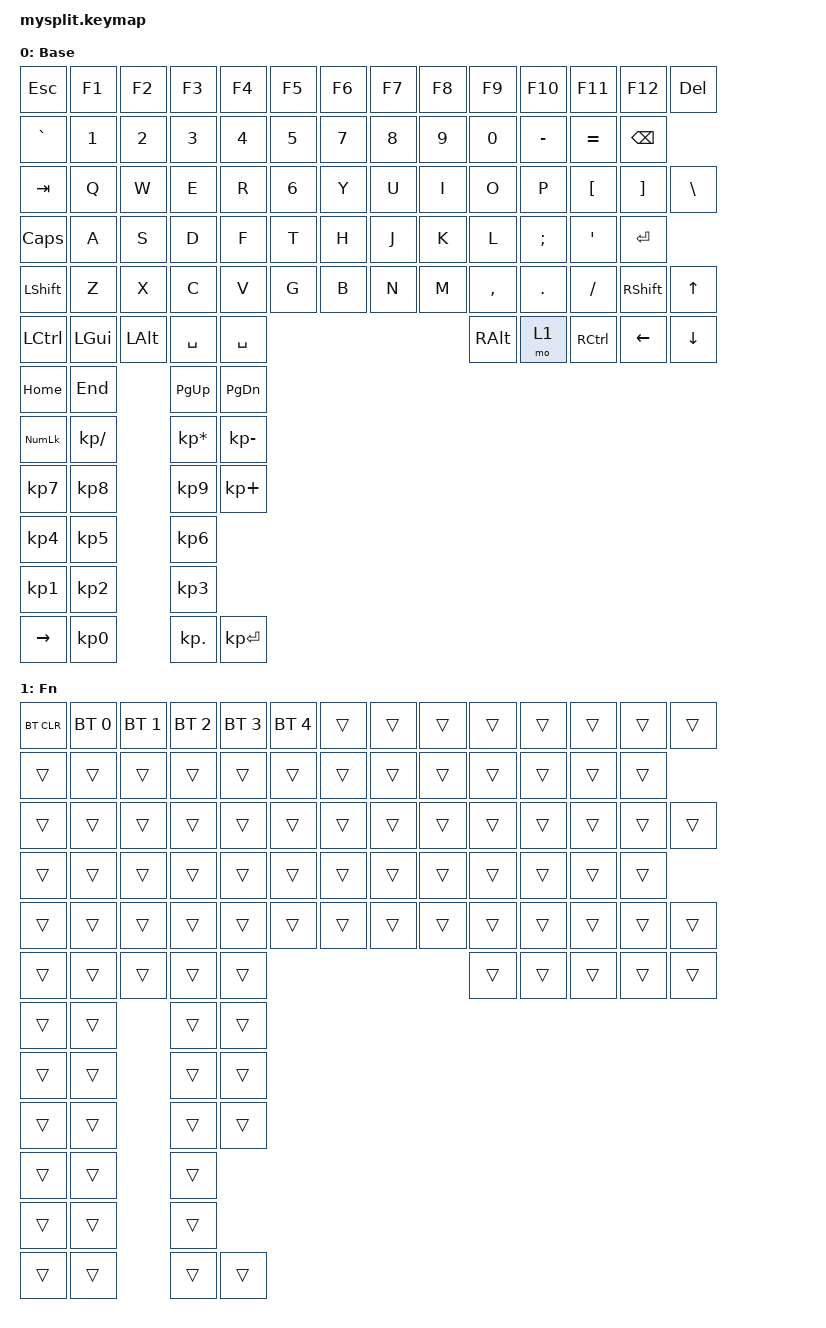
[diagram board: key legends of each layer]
// ============================================================
// mysplit.keymap  - keymap.h + 숫자패드 코드를 ZMK 문법으로 옮긴 것
// 순서는 mysplit.dtsi의 matrix transform과 정확히 같아야 함
// (왼쪽 → 오른쪽, 위 → 아래)
// ============================================================
#include <behaviors.dtsi>
#include <dt-bindings/zmk/keys.h>
#include <dt-bindings/zmk/bt.h>

/ {
    keymap {
        compatible = "zmk,keymap";

        base_layer {
            display-name = "Base";
            bindings = <
&kp ESC   &kp F1   &kp F2   &kp F3   &kp F4   &kp F5        &kp F6  &kp F7  &kp F8  &kp F9    &kp F10   &kp F11   &kp F12   &kp DEL
&kp GRAVE &kp N1   &kp N2   &kp N3   &kp N4   &kp N5        &kp N7  &kp N8  &kp N9  &kp N0    &kp MINUS &kp EQUAL &kp BSPC
&kp TAB   &kp Q    &kp W    &kp E    &kp R    &kp N6        &kp Y   &kp U   &kp I   &kp O     &kp P     &kp LBKT  &kp RBKT  &kp BSLH
&kp CAPS  &kp A    &kp S    &kp D    &kp F    &kp T         &kp H   &kp J   &kp K   &kp L     &kp SEMI  &kp SQT   &kp RET
&kp LSHFT &kp Z    &kp X    &kp C    &kp V    &kp G         &kp B   &kp N   &kp M   &kp COMMA &kp DOT   &kp FSLH  &kp RSHFT &kp UP
&kp LCTRL &kp LGUI &kp LALT &kp SPACE                                       &kp SPACE &kp RALT  &mo 1     &kp RCTRL &kp LEFT  &kp DOWN
// 숫자패드
&kp HOME   &kp END      &kp PG_UP     &kp PG_DN
&kp KP_NUM &kp KP_SLASH &kp KP_MULTIPLY &kp KP_MINUS
&kp KP_N7  &kp KP_N8    &kp KP_N9     &kp KP_PLUS
&kp KP_N4  &kp KP_N5    &kp KP_N6
&kp KP_N1  &kp KP_N2    &kp KP_N3
&kp RIGHT  &kp KP_N0    &kp KP_DOT    &kp KP_ENTER
            >;
        };

        // Fn 레이어: 원래 비어 있었는데, ZMK에선 블루투스 제어 키가 꼭 필요해서 추가함
        //   Fn + F1~F5 : 연결 기기 1~5번 선택
        //   Fn + ESC   : 현재 선택된 기기 페어링 지우기
        fn_layer {
            display-name = "Fn";
            bindings = <
&bt BT_CLR &bt BT_SEL 0 &bt BT_SEL 1 &bt BT_SEL 2 &bt BT_SEL 3 &bt BT_SEL 4   &trans &trans &trans &trans &trans &trans &trans &trans
&trans     &trans       &trans       &trans       &trans       &trans         &trans &trans &trans &trans &trans &trans &trans
&trans     &trans       &trans       &trans       &trans       &trans         &trans &trans &trans &trans &trans &trans &trans &trans
&trans     &trans       &trans       &trans       &trans       &trans         &trans &trans &trans &trans &trans &trans &trans
&trans     &trans       &trans       &trans       &trans       &trans         &trans &trans &trans &trans &trans &trans &trans &trans
&trans     &trans       &trans       &trans                                                 &trans &trans &trans &trans &trans &trans
// 숫자패드
&trans &trans &trans &trans
&trans &trans &trans &trans
&trans &trans &trans &trans
&trans &trans &trans
&trans &trans &trans
&trans &trans &trans &trans
            >;
        };
    };
};
